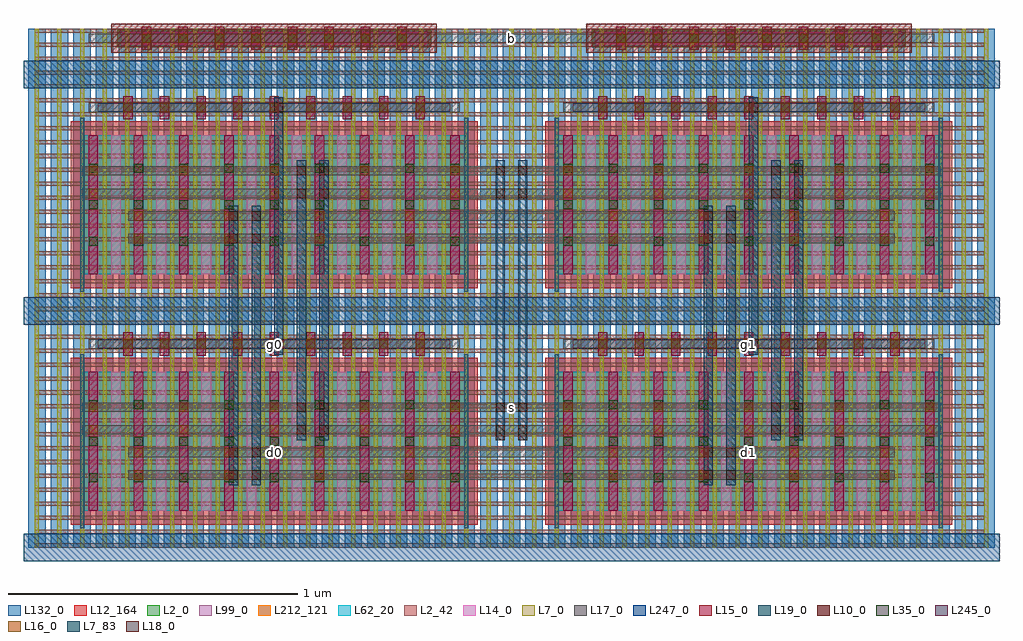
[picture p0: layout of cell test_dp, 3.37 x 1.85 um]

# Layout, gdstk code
import gdstk
lib = gdstk.Library(unit=1e-6, precision=1e-12)
def R(c, l, rs):  # rectangles x0, y0, x1, y1
    for r in rs: c.add(gdstk.rectangle(r[:2], r[2:], *l))
def A(c, l, x, y, w, h, nx, ny, dx, dy):  # array of equal rectangles
    R(c, l, [(x+i*dx, y+j*dy, x+i*dx+w, y+j*dy+h) for i in range(nx) for j in range(ny)])
L2_0 = (2, 0)
L2_42 = (2, 42)
L7_0 = (7, 0)
L7_83 = (7, 83)
L10_0 = (10, 0)
L12_164 = (12, 164)
L14_0 = (14, 0)
L15_0 = (15, 0)
L16_0 = (16, 0)
L17_0 = (17, 0)
L18_0 = (18, 0)
L19_0 = (19, 0)
L35_0 = (35, 0)
L62_20 = (62, 20)
L99_0 = (99, 0)
L132_0 = (132, 0)
L212_121 = (212, 121)
L245_0 = (245, 0)
L247_0 = (247, 0)

test_dp = lib.new_cell('test_dp')
R(test_dp, L2_0, [(0.186,0.127,1.512,0.607), (1.824,0.127,3.15,0.607), (0.186,0.943,1.512,1.423), (1.824,0.943,3.15,1.423), (0.3074,1.727,1.3906,1.787), (1.9454,1.727,3.0286,1.787)])
A(test_dp, L2_42, 0.023, 0, 3.276, 0.014, 1, 38, 0, 0.048)
A(test_dp, L7_0, 0.023, 0, 0.014, 1.79, 43, 1, 0.078, 0)
R(test_dp, L7_83, [(0.179,0.067,0.193,0.667), (1.505,0.067,1.519,0.667), (1.817,0.067,1.831,0.667), (3.143,0.067,3.157,0.667), (0.179,0.883,0.193,1.483), (1.505,0.883,1.519,1.483), (1.817,0.883,1.831,1.483), (3.143,0.883,3.157,1.483)])
R(test_dp, L10_0, [(0.2874,1.707,1.4106,1.807), (1.9254,1.707,3.0486,1.807)])
R(test_dp, L12_164, [(0.147,0.079,1.551,0.655), (1.785,0.079,3.189,0.655), (0.147,0.895,1.551,1.471), (1.785,0.895,3.189,1.471)])
A(test_dp, L14_0, 0.208, 0.127, 0.034, 0.48, 17, 2, 0.078, 0.816)
A(test_dp, L14_0, 1.846, 0.127, 0.034, 0.48, 17, 2, 0.078, 0.816)
R(test_dp, L14_0, [(0.3224,1.737,1.3756,1.777), (1.9604,1.737,3.0136,1.777)])
A(test_dp, L15_0, 0.209, 0.127, 0.032, 0.48, 9, 2, 0.156, 0.816)
A(test_dp, L15_0, 1.847, 0.127, 0.032, 0.48, 9, 2, 0.156, 0.816)
A(test_dp, L15_0, 0.329, 0.662, 0.032, 0.08, 9, 2, 0.126, 0.816)
A(test_dp, L15_0, 1.967, 0.662, 0.032, 0.08, 9, 2, 0.126, 0.816)
A(test_dp, L15_0, 0.392, 1.717, 0.032, 0.08, 8, 1, 0.126, 0)
A(test_dp, L15_0, 2.03, 1.717, 0.032, 0.08, 8, 1, 0.126, 0)
A(test_dp, L16_0, 0.365, 0.234, 0.032, 0.032, 4, 2, 0.312, 0.078)
A(test_dp, L16_0, 2.003, 0.234, 0.032, 0.032, 4, 2, 0.312, 0.078)
A(test_dp, L16_0, 0.209, 0.39, 0.032, 0.032, 5, 2, 0.312, 0.078)
A(test_dp, L16_0, 1.847, 0.39, 0.032, 0.032, 5, 2, 0.312, 0.078)
A(test_dp, L16_0, 0.329, 0.686, 0.032, 0.032, 9, 2, 0.126, 0.816)
A(test_dp, L16_0, 1.967, 0.686, 0.032, 0.032, 9, 2, 0.126, 0.816)
A(test_dp, L16_0, 0.365, 1.05, 0.032, 0.032, 4, 2, 0.312, 0.078)
A(test_dp, L16_0, 2.003, 1.05, 0.032, 0.032, 4, 2, 0.312, 0.078)
A(test_dp, L16_0, 0.209, 1.206, 0.032, 0.032, 5, 2, 0.312, 0.078)
A(test_dp, L16_0, 1.847, 1.206, 0.032, 0.032, 5, 2, 0.312, 0.078)
A(test_dp, L16_0, 0.392, 1.741, 0.032, 0.032, 8, 1, 0.126, 0)
A(test_dp, L16_0, 2.03, 1.741, 0.032, 0.032, 8, 1, 0.126, 0)
R(test_dp, L17_0, [(0.345,0.234,1.353,0.266), (1.343,0.234,1.993,0.266), (1.983,0.234,2.991,0.266), (0.345,0.312,1.353,0.344), (1.343,0.312,1.993,0.344), (1.983,0.312,2.991,0.344), (0.186,0.39,1.512,0.422), (1.502,0.39,1.834,0.422), (1.824,0.39,3.15,0.422), (0.186,0.468,1.512,0.5), (1.502,0.468,1.834,0.5), (1.824,0.468,3.15,0.5), (0.209,0.686,1.489,0.718), (1.847,0.686,3.127,0.718), (0.345,1.05,1.353,1.082), (1.343,1.05,1.993,1.082), (1.983,1.05,2.991,1.082), (0.345,1.128,1.353,1.16), (1.343,1.128,1.993,1.16), (1.983,1.128,2.991,1.16), (0.186,1.206,1.512,1.238), (1.502,1.206,1.834,1.238), (1.824,1.206,3.15,1.238), (0.186,1.284,1.512,1.316), (1.502,1.284,1.834,1.316), (1.824,1.284,3.15,1.316), (0.209,1.502,1.489,1.534), (1.847,1.502,3.127,1.534), (0.209,1.741,1.489,1.773), (1.479,1.741,1.857,1.773), (1.847,1.741,3.127,1.773)])
R(test_dp, L18_0, [(0.693,0.234,0.725,0.266), (0.771,0.234,0.803,0.266), (2.331,0.234,2.363,0.266), (2.409,0.234,2.441,0.266), (0.693,0.312,0.725,0.344), (0.771,0.312,0.803,0.344), (2.331,0.312,2.363,0.344), (2.409,0.312,2.441,0.344), (1.613,0.37,1.645,0.402), (1.691,0.37,1.723,0.402), (0.927,0.39,0.959,0.422), (1.005,0.39,1.037,0.422), (1.613,0.39,1.645,0.422), (1.691,0.39,1.723,0.422), (2.565,0.39,2.597,0.422), (2.643,0.39,2.675,0.422), (0.927,0.468,0.959,0.5), (1.005,0.468,1.037,0.5), (1.613,0.468,1.645,0.5), (1.691,0.468,1.723,0.5), (2.565,0.468,2.597,0.5), (2.643,0.468,2.675,0.5), (0.849,0.686,0.881,0.718), (2.487,0.686,2.519,0.718), (0.693,1.05,0.725,1.082), (0.771,1.05,0.803,1.082), (2.331,1.05,2.363,1.082), (2.409,1.05,2.441,1.082), (0.693,1.128,0.725,1.16), (0.771,1.128,0.803,1.16), (2.331,1.128,2.363,1.16), (2.409,1.128,2.441,1.16), (0.927,1.206,0.959,1.238), (1.005,1.206,1.037,1.238), (1.613,1.206,1.645,1.238), (1.691,1.206,1.723,1.238), (2.565,1.206,2.597,1.238), (2.643,1.206,2.675,1.238), (0.927,1.284,0.959,1.316), (1.005,1.284,1.037,1.316), (1.613,1.284,1.645,1.316), (1.691,1.284,1.723,1.316), (2.565,1.284,2.597,1.316), (2.643,1.284,2.675,1.316), (0.849,1.502,0.881,1.534), (2.487,1.502,2.519,1.534)])
R(test_dp, L19_0, [(0.693,0.214,0.725,1.18), (0.771,0.214,0.803,1.18), (2.331,0.214,2.363,1.18), (2.409,0.214,2.441,1.18), (0.927,0.37,0.959,1.336), (1.005,0.37,1.037,1.336), (1.613,0.37,1.645,1.336), (1.691,0.37,1.723,1.336), (2.565,0.37,2.597,1.336), (2.643,0.37,2.675,1.336), (0.849,0.666,0.881,1.554), (2.487,0.666,2.519,1.554)])
A(test_dp, L35_0, 0.209, 0.225, 0.032, 0.032, 9, 3, 0.156, 0.126)
A(test_dp, L35_0, 1.847, 0.225, 0.032, 0.032, 9, 3, 0.156, 0.126)
A(test_dp, L35_0, 0.329, 0.686, 0.032, 0.032, 9, 2, 0.126, 0.816)
A(test_dp, L35_0, 1.967, 0.686, 0.032, 0.032, 9, 2, 0.126, 0.816)
A(test_dp, L35_0, 0.209, 1.041, 0.032, 0.032, 9, 3, 0.156, 0.126)
A(test_dp, L35_0, 1.847, 1.041, 0.032, 0.032, 9, 3, 0.156, 0.126)
A(test_dp, L35_0, 0.392, 1.741, 0.032, 0.032, 8, 1, 0.126, 0)
A(test_dp, L35_0, 2.03, 1.741, 0.032, 0.032, 8, 1, 0.126, 0)
R(test_dp, L62_20, [(0.186,0.127,1.512,0.607), (1.824,0.127,3.15,0.607), (0.186,0.943,1.512,1.423), (1.824,0.943,3.15,1.423)])
R(test_dp, L99_0, [(0.186,0.127,1.512,0.607), (1.824,0.127,3.15,0.607), (0.186,0.943,1.512,1.423), (1.824,0.943,3.15,1.423), (0.3174,1.732,1.3806,1.782), (1.9554,1.732,3.0186,1.782)])
A(test_dp, L132_0, 0, 0, 0.06, 1.79, 43, 1, 0.078, 0)
R(test_dp, L212_121, [(0.186,0.127,1.512,0.607), (1.824,0.127,3.15,0.607), (0.186,0.943,1.512,1.423), (1.824,0.943,3.15,1.423)])
R(test_dp, L245_0, [(0.241,0.687,1.457,0.717), (1.879,0.687,3.095,0.717), (0.241,1.503,1.457,1.533), (1.879,1.503,3.095,1.533)])
A(test_dp, L247_0, -0.016, -0.047, 1.73, 0.094, 1, 3, 0, 0.816)
A(test_dp, L247_0, 1.622, -0.047, 1.73, 0.094, 1, 3, 0, 0.816)
test_dp.add(gdstk.Label('s', (1.668,0.484), layer=16, texttype=20))
test_dp.add(gdstk.Label('d1', (2.487,0.328), layer=16, texttype=20))
test_dp.add(gdstk.Label('d0', (0.849,0.328), layer=16, texttype=20))
test_dp.add(gdstk.Label('g0', (0.849,0.702), layer=16, texttype=20))
test_dp.add(gdstk.Label('g1', (2.487,0.702), layer=16, texttype=20))
test_dp.add(gdstk.Label('b', (1.668,1.757), layer=16, texttype=20))

lib.write_gds('test_dp.gds')
